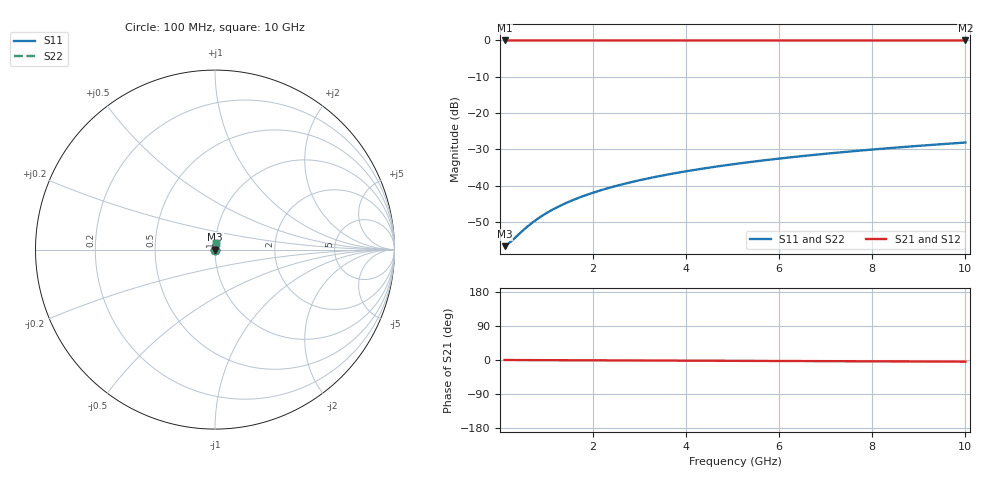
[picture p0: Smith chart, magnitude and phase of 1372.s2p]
# Hz S RI R 50.00
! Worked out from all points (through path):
!   100 points, 100 MHz to 10 GHz, reference 50 ohm
!   highest |S21| = -0.01 dB at 100 MHz (marker M1); lowest = 0.0 dB at 10 GHz (marker M2)
!   lowest |S11| = -56.7 dB at 100 MHz (marker M3), VSWR 1.00, Z = 50.1 + j0.0391 ohm
!   |S11| at or under -10 dB: start of sweep to end of sweep
!   |S22| runs from -56.7 to -28.1 dB; largest |S21 - S12| = 0
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1e8  0.00141 0.00039  0.9986 -0.000757  0.9986 -0.000757  0.00141 0.00039
2e8  0.00142 0.00078  0.9986 -0.00151  0.9986 -0.00151  0.00142 0.00078
5e8  0.00144 0.00195  0.9986 -0.00378  0.9986 -0.00378  0.00144 0.00195
6e8  0.00145 0.00234  0.9985 -0.00454  0.9985 -0.00454  0.00145 0.00234
7e8  0.00146 0.00273  0.9985 -0.0053  0.9985 -0.0053  0.00146 0.00273
9e8  0.00147 0.00351  0.9985 -0.00681  0.9985 -0.00681  0.00147 0.00351
1.1e9  0.00149 0.00429  0.9985 -0.00833  0.9985 -0.00833  0.00149 0.00429
1.3e9  0.00151 0.00507  0.9985 -0.00984  0.9985 -0.00984  0.00151 0.00507
1.5e9  0.00153 0.00585  0.9984 -0.0114  0.9984 -0.0114  0.00153 0.00585
1.8e9  0.00156 0.00702  0.9984 -0.0136  0.9984 -0.0136  0.00156 0.00702
2.1e9  0.0016 0.00819  0.9984 -0.0159  0.9984 -0.0159  0.0016 0.00819
2.5e9  0.00167 0.00975  0.9983 -0.0189  0.9983 -0.0189  0.00167 0.00975
2.9e9  0.00174 0.0113  0.9982 -0.0219  0.9982 -0.0219  0.00174 0.0113
3.4e9  0.00184 0.0133  0.9981 -0.0257  0.9981 -0.0257  0.00184 0.0133
3.8e9  0.00193 0.0148  0.998 -0.0288  0.998 -0.0288  0.00193 0.0148
4.2e9  0.00203 0.0164  0.9978 -0.0318  0.9978 -0.0318  0.00203 0.0164
5.1e9  0.00228 0.0199  0.9975 -0.0386  0.9975 -0.0386  0.00228 0.0199
5.9e9  0.00255 0.023  0.9972 -0.0447  0.9972 -0.0447  0.00255 0.023
6.7e9  0.00286 0.0261  0.9968 -0.0507  0.9968 -0.0507  0.00286 0.0261
7.5e9  0.00321 0.0292  0.9964 -0.0568  0.9964 -0.0568  0.00321 0.0292
8.4e9  0.00364 0.0327  0.9959 -0.0636  0.9959 -0.0636  0.00364 0.0327
1e10  0.00453 0.0389  0.9948 -0.0757  0.9948 -0.0757  0.00453 0.0389
